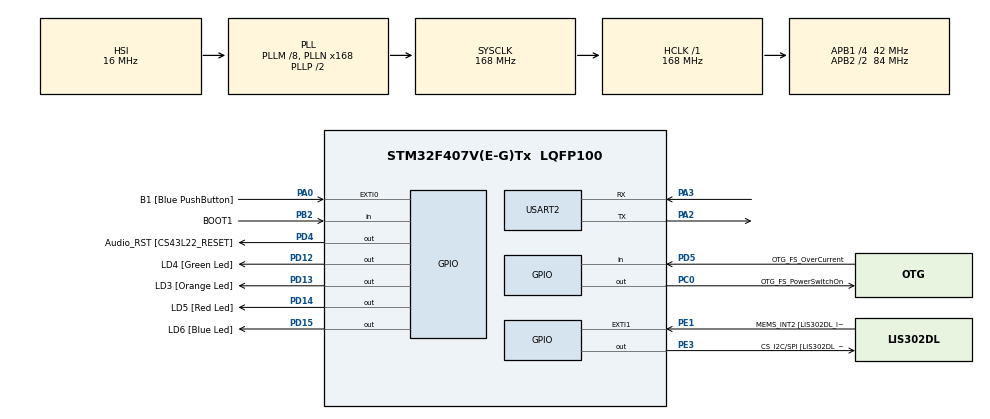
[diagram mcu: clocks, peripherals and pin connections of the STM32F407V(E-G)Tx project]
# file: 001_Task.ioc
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Mcu.Family=STM32F4
Mcu.Name=STM32F407V(E-G)Tx
Mcu.Package=LQFP100
NVIC.PriorityGroup=NVIC_PRIORITYGROUP_4
NVIC.TIM6_DAC_IRQn=true\:15\:0\:false\:false\:true\:false\:true\:true
NVIC.TimeBase=TIM6_DAC_IRQn
NVIC.TimeBaseIP=TIM6
PA0-WKUP.GPIO_Label=B1 [Blue PushButton]
PA0-WKUP.Signal=GPXTI0
PA10.GPIO_Label=OTG_FS_ID
PA10.GPIO_Mode=GPIO_MODE_AF_PP
PA10.GPIO_PuPd=GPIO_NOPULL
PA10.GPIO_Speed=GPIO_SPEED_FREQ_LOW
PA10.Signal=USB_OTG_FS_ID
PA11.GPIO_Label=OTG_FS_DM
PA11.GPIO_Mode=GPIO_MODE_AF_PP
PA11.GPIO_PuPd=GPIO_NOPULL
PA11.GPIO_Speed=GPIO_SPEED_FREQ_LOW
PA11.Signal=USB_OTG_FS_DM
PA12.GPIO_Label=OTG_FS_DP
PA12.GPIO_Mode=GPIO_MODE_AF_PP
PA12.GPIO_PuPd=GPIO_NOPULL
PA12.GPIO_Speed=GPIO_SPEED_FREQ_LOW
PA12.Signal=USB_OTG_FS_DP
PA13.GPIO_Label=SWDIO
PA13.Signal=SYS_JTMS-SWDIO
PA14.GPIO_Label=SWCLK
PA14.Signal=SYS_JTCK-SWCLK
PA2.Mode=Asynchronous
PA2.Signal=USART2_TX
PA3.Mode=Asynchronous
PA3.Signal=USART2_RX
PA4.GPIO_Label=I2S3_WS [CS43L22_LRCK]
PA4.GPIO_Mode=GPIO_MODE_AF_PP
PA4.GPIO_PuPd=GPIO_NOPULL
PA4.GPIO_Speed=GPIO_SPEED_FREQ_LOW
PA4.Signal=I2S3_WS
PA5.GPIO_Label=SPI1_SCK [LIS302DL_SCL/SPC]
PA5.GPIO_Mode=GPIO_MODE_AF_PP
PA5.GPIO_PuPd=GPIO_NOPULL
PA5.GPIO_Speed=GPIO_SPEED_FREQ_LOW
PA5.Signal=SPI1_SCK
PA6.GPIO_Label=SPI1_MISO [LIS302DL_SDO]
PA6.GPIO_Mode=GPIO_MODE_AF_PP
PA6.GPIO_PuPd=GPIO_NOPULL
PA6.GPIO_Speed=GPIO_SPEED_FREQ_LOW
PA6.Signal=SPI1_MISO
PA7.GPIO_Label=SPI1_MOSI [LIS302DL_SDA/SDI/SDO]
PA7.GPIO_Mode=GPIO_MODE_AF_PP
PA7.GPIO_PuPd=GPIO_NOPULL
PA7.GPIO_Speed=GPIO_SPEED_FREQ_LOW
PA7.Signal=SPI1_MOSI
PA9.GPIO_Label=VBUS_FS
PA9.GPIO_Mode=GPIO_MODE_INPUT
PA9.GPIO_PuPd=GPIO_NOPULL
PA9.Signal=USB_OTG_FS_VBUS
PB10.GPIO_Label=CLK_IN [MP45DT02_CLK]
PB10.GPIO_Mode=GPIO_MODE_AF_PP
PB10.GPIO_PuPd=GPIO_NOPULL
PB10.GPIO_Speed=GPIO_SPEED_FREQ_LOW
PB10.Signal=I2S2_CK
PB2.GPIO_Label=BOOT1
PB2.GPIO_Mode=GPIO_MODE_INPUT
PB2.GPIO_PuPd=GPIO_NOPULL
PB2.Signal=GPIO_Input
PB3.GPIO_Label=SWO
PB3.Signal=SYS_JTDO-SWO
PB6.GPIO_Label=Audio_SCL [CS43L22_SCL]
PB6.GPIO_Mode=GPIO_MODE_AF_OD
PB6.GPIO_PuPd=GPIO_NOPULL
PB6.GPIO_Speed=GPIO_SPEED_FREQ_LOW
PB6.Signal=I2C1_SCL
PB9.GPIO_Label=Audio_SDA [CS43L22_SDA]
PB9.GPIO_Mode=GPIO_MODE_AF_OD
PB9.GPIO_PuPd=GPIO_NOPULL
PB9.GPIO_Speed=GPIO_SPEED_FREQ_LOW
PB9.Signal=I2C1_SDA
PC0.GPIO_Label=OTG_FS_PowerSwitchOn
PC0.GPIO_PuPd=GPIO_NOPULL
PC0.GPIO_Speed=GPIO_SPEED_FREQ_LOW
PC0.PinState=GPIO_PIN_SET
PC0.Signal=GPIO_Output
PC10.GPIO_Label=I2S3_SCK [CS43L22_SCLK]
PC10.GPIO_Mode=GPIO_MODE_AF_PP
PC10.GPIO_PuPd=GPIO_NOPULL
PC10.GPIO_Speed=GPIO_SPEED_FREQ_LOW
PC10.Signal=I2S3_CK
PC12.GPIO_Label=I2S3_SD [CS43L22_SDIN]
PC12.GPIO_Mode=GPIO_MODE_AF_PP
PC12.GPIO_PuPd=GPIO_NOPULL
PC12.GPIO_Speed=GPIO_SPEED_FREQ_LOW
PC12.Signal=I2S3_SD
PC14-OSC32_IN.GPIO_Label=PC14-OSC32_IN
PC14-OSC32_IN.Signal=RCC_OSC32_IN
PC15-OSC32_OUT.GPIO_Label=PC15-OSC32_OUT
PC15-OSC32_OUT.Signal=RCC_OSC32_OUT
PC3.GPIO_Label=PDM_OUT [MP45DT02_DOUT]
PC3.GPIO_Mode=GPIO_MODE_AF_PP
PC3.GPIO_PuPd=GPIO_NOPULL
PC3.GPIO_Speed=GPIO_SPEED_FREQ_LOW
PC3.Signal=I2S2_SD
PC7.GPIO_Label=I2S3_MCK [CS43L22_MCLK]
PC7.GPIO_Mode=GPIO_MODE_AF_PP
PC7.GPIO_PuPd=GPIO_NOPULL
PC7.GPIO_Speed=GPIO_SPEED_FREQ_LOW
PC7.Signal=I2S3_MCK
PD12.GPIO_Label=LD4 [Green Led]
PD12.GPIO_PuPd=GPIO_NOPULL
PD12.GPIO_Speed=GPIO_SPEED_FREQ_LOW
PD12.Signal=GPIO_Output
PD13.GPIO_Label=LD3 [Orange Led]
PD13.GPIO_PuPd=GPIO_NOPULL
PD13.GPIO_Speed=GPIO_SPEED_FREQ_LOW
PD13.Signal=GPIO_Output
PD14.GPIO_Label=LD5 [Red Led]
PD14.GPIO_PuPd=GPIO_NOPULL
PD14.GPIO_Speed=GPIO_SPEED_FREQ_LOW
PD14.Signal=GPIO_Output
PD15.GPIO_Label=LD6 [Blue Led]
PD15.GPIO_PuPd=GPIO_NOPULL
PD15.GPIO_Speed=GPIO_SPEED_FREQ_LOW
PD15.Signal=GPIO_Output
PD4.GPIO_Label=Audio_RST [CS43L22_RESET]
PD4.GPIO_PuPd=GPIO_NOPULL
PD4.GPIO_Speed=GPIO_SPEED_FREQ_LOW
PD4.Signal=GPIO_Output
PD5.GPIO_Label=OTG_FS_OverCurrent
PD5.GPIO_Mode=GPIO_MODE_INPUT
PD5.GPIO_PuPd=GPIO_NOPULL
PD5.Signal=GPIO_Input
PE1.GPIO_Label=MEMS_INT2 [LIS302DL_INT2]
PE1.GPIO_ModeDefaultEXTI=GPIO_MODE_EVT_RISING
PE1.GPIO_PuPd=GPIO_NOPULL
PE1.Signal=GPXTI1
PE3.GPIO_Label=CS_I2C/SPI [LIS302DL_CS_I2C/SPI]
PE3.GPIO_PuPd=GPIO_NOPULL
PE3.GPIO_Speed=GPIO_SPEED_FREQ_LOW
PE3.Signal=GPIO_Output
PH0-OSC_IN.GPIO_Label=PH0-OSC_IN
PH0-OSC_IN.Signal=RCC_OSC_IN
PH1-OSC_OUT.GPIO_Label=PH1-OSC_OUT
PH1-OSC_OUT.Signal=RCC_OSC_OUT
ProjectManager.HeapSize=0x200
ProjectManager.StackSize=0x400
ProjectManager.TargetToolchain=STM32CubeIDE
RCC.48MHZClocksFreq_Value=48000000
RCC.AHBFreq_Value=168000000
RCC.APB1CLKDivider=RCC_HCLK_DIV4
RCC.APB1Freq_Value=42000000
RCC.APB1TimFreq_Value=84000000
RCC.APB2CLKDivider=RCC_HCLK_DIV2
RCC.APB2Freq_Value=84000000
RCC.APB2TimFreq_Value=168000000
RCC.CortexFreq_Value=168000000
RCC.HCLKFreq_Value=168000000
RCC.HSE_VALUE=8000000
RCC.HSI_VALUE=16000000
RCC.LSE_VALUE=32768
RCC.PLLM=8
RCC.PLLN=168
RCC.PLLQ=7
RCC.SYSCLKFreq_VALUE=168000000
RCC.SYSCLKSource=RCC_SYSCLKSOURCE_PLLCLK
RCC.VCOOutputFreq_Value=336000000
USART2.VirtualMode=VM_ASYNC
VP_SYS_VS_tim6.Mode=TIM6
board=STM32F407G-DISC1

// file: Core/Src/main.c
/* USER CODE BEGIN Header */
/**
  ******************************************************************************
  * @file           : main.c
  * @brief          : Main program body
  ******************************************************************************
  * @attention
  *
  * Copyright (c) 2024 STMicroelectronics.
  * All rights reserved.
  *
  * This software is licensed under terms that can be found in the LICENSE file
  * in the root directory of this software component.
  * If no LICENSE file comes with this software, it is provided AS-IS.
  *
  ******************************************************************************
  */
/* USER CODE END Header */
#include "main.h"

/* USER CODE BEGIN Includes */
#include "FreeRTOS.h"
#include "task.h"
#include <stdio.h>
/* USER CODE END Includes */

UART_HandleTypeDef huart2;

/* USER CODE BEGIN PV */

#define DWT_CTRL (*(volatile uint32_t*)0xE0001000)
/* USER CODE END PV */

void SystemClock_Config(void);
static void MX_GPIO_Init(void);
static void MX_USART2_UART_Init(void);
/* USER CODE BEGIN PFP */
static void task1_handler(void* parameters);
static void task2_handler(void* parameters);
/* USER CODE END PFP */

/* USER CODE BEGIN 0 */
extern void SEGGER_UART_init(uint32_t);
/* USER CODE END 0 */

int main(void)
{
  /* USER CODE BEGIN 1 */
	TaskHandle_t task1_handle;
	TaskHandle_t task2_handle;
	BaseType_t status;
  /* USER CODE END 1 */

  /* MCU Configuration--------------------------------------------------------*/

  /* Reset of all peripherals, Initializes the Flash interface and the Systick. */
  HAL_Init();

  /* Configure the system clock */
  SystemClock_Config();

  /* Initialize all configured peripherals */
  MX_GPIO_Init();
  MX_USART2_UART_Init();
  /* USER CODE BEGIN 2 */

  //Enabling cyclic counting
  DWT_CTRL |=(1<<0);

  SEGGER_UART_init(500000);

  SEGGER_SYSVIEW_Conf();

//  SEGGER_SYSVIEW_Start(); it starts in segger_uart.c

  status = xTaskCreate(task1_handler,
              "Task-1",
              200,
              "Hello world from Task-1",
              2,
              &task1_handle
                            );

  configASSERT(status == pdPASS);
  status = xTaskCreate(task2_handler,
              "Task-2",
              200,
              "Hello world from Task-2",
              2,
              &task2_handle
                            );

  configASSERT(status == pdPASS);

  //start the FreeRTOS scheduler

  vTaskStartScheduler();

  /* USER CODE END 2 */

  /* Infinite loop */
  while (1)
  {

  }
}

void SystemClock_Config(void)
{
  RCC_OscInitTypeDef RCC_OscInitStruct = {0};
  RCC_ClkInitTypeDef RCC_ClkInitStruct = {0};

  /** Configure the main internal regulator output voltage
  */
  __HAL_RCC_PWR_CLK_ENABLE();
  __HAL_PWR_VOLTAGESCALING_CONFIG(PWR_REGULATOR_VOLTAGE_SCALE1);

  /** Initializes the RCC Oscillators according to the specified parameters
  * in the RCC_OscInitTypeDef structure.
  */
  RCC_OscInitStruct.OscillatorType = RCC_OSCILLATORTYPE_HSI;
  RCC_OscInitStruct.HSIState = RCC_HSI_ON;
  RCC_OscInitStruct.HSICalibrationValue = RCC_HSICALIBRATION_DEFAULT;
  RCC_OscInitStruct.PLL.PLLState = RCC_PLL_ON;
  RCC_OscInitStruct.PLL.PLLSource = RCC_PLLSOURCE_HSI;
  RCC_OscInitStruct.PLL.PLLM = 8;
  RCC_OscInitStruct.PLL.PLLN = 168;
  RCC_OscInitStruct.PLL.PLLP = RCC_PLLP_DIV2;
  RCC_OscInitStruct.PLL.PLLQ = 7;
  if (HAL_RCC_OscConfig(&RCC_OscInitStruct) != HAL_OK)
  {
    Error_Handler();
  }

  /** Initializes the CPU, AHB and APB buses clocks
  */
  RCC_ClkInitStruct.ClockType = RCC_CLOCKTYPE_HCLK|RCC_CLOCKTYPE_SYSCLK
                              |RCC_CLOCKTYPE_PCLK1|RCC_CLOCKTYPE_PCLK2;
  RCC_ClkInitStruct.SYSCLKSource = RCC_SYSCLKSOURCE_PLLCLK;
  RCC_ClkInitStruct.AHBCLKDivider = RCC_SYSCLK_DIV1;
  RCC_ClkInitStruct.APB1CLKDivider = RCC_HCLK_DIV4;
  RCC_ClkInitStruct.APB2CLKDivider = RCC_HCLK_DIV2;

  if (HAL_RCC_ClockConfig(&RCC_ClkInitStruct, FLASH_LATENCY_5) != HAL_OK)
  {
    Error_Handler();
  }
}

static void MX_USART2_UART_Init(void)
{

  huart2.Instance = USART2;
  huart2.Init.BaudRate = 115200;
  huart2.Init.WordLength = UART_WORDLENGTH_8B;
  huart2.Init.StopBits = UART_STOPBITS_1;
  huart2.Init.Parity = UART_PARITY_NONE;
  huart2.Init.Mode = UART_MODE_TX_RX;
  huart2.Init.HwFlowCtl = UART_HWCONTROL_NONE;
  huart2.Init.OverSampling = UART_OVERSAMPLING_16;
  if (HAL_UART_Init(&huart2) != HAL_OK)
  {
    Error_Handler();
  }

}

static void MX_GPIO_Init(void)
{
  GPIO_InitTypeDef GPIO_InitStruct = {0};

  /* GPIO Ports Clock Enable */
  __HAL_RCC_GPIOE_CLK_ENABLE();
  __HAL_RCC_GPIOC_CLK_ENABLE();
  __HAL_RCC_GPIOH_CLK_ENABLE();
  __HAL_RCC_GPIOA_CLK_ENABLE();
  __HAL_RCC_GPIOB_CLK_ENABLE();
  __HAL_RCC_GPIOD_CLK_ENABLE();

  /*Configure GPIO pin Output Level */
  HAL_GPIO_WritePin(CS_I2C_SPI_GPIO_Port, CS_I2C_SPI_Pin, GPIO_PIN_RESET);

  /*Configure GPIO pin Output Level */
  HAL_GPIO_WritePin(OTG_FS_PowerSwitchOn_GPIO_Port, OTG_FS_PowerSwitchOn_Pin, GPIO_PIN_SET);

  /*Configure GPIO pin Output Level */
  HAL_GPIO_WritePin(GPIOD, LD4_Pin|LD3_Pin|LD5_Pin|LD6_Pin
                          |Audio_RST_Pin, GPIO_PIN_RESET);

  /*Configure GPIO pin : CS_I2C_SPI_Pin */
  GPIO_InitStruct.Pin = CS_I2C_SPI_Pin;
  GPIO_InitStruct.Mode = GPIO_MODE_OUTPUT_PP;
  GPIO_InitStruct.Pull = GPIO_NOPULL;
  GPIO_InitStruct.Speed = GPIO_SPEED_FREQ_LOW;
  HAL_GPIO_Init(CS_I2C_SPI_GPIO_Port, &GPIO_InitStruct);

  /*Configure GPIO pin : OTG_FS_PowerSwitchOn_Pin */
  GPIO_InitStruct.Pin = OTG_FS_PowerSwitchOn_Pin;
  GPIO_InitStruct.Mode = GPIO_MODE_OUTPUT_PP;
  GPIO_InitStruct.Pull = GPIO_NOPULL;
  GPIO_InitStruct.Speed = GPIO_SPEED_FREQ_LOW;
  HAL_GPIO_Init(OTG_FS_PowerSwitchOn_GPIO_Port, &GPIO_InitStruct);

  /*Configure GPIO pin : PDM_OUT_Pin */
  GPIO_InitStruct.Pin = PDM_OUT_Pin;
  GPIO_InitStruct.Mode = GPIO_MODE_AF_PP;
  GPIO_InitStruct.Pull = GPIO_NOPULL;
  GPIO_InitStruct.Speed = GPIO_SPEED_FREQ_LOW;
  GPIO_InitStruct.Alternate = GPIO_AF5_SPI2;
  HAL_GPIO_Init(PDM_OUT_GPIO_Port, &GPIO_InitStruct);

  /*Configure GPIO pin : B1_Pin */
  GPIO_InitStruct.Pin = B1_Pin;
  GPIO_InitStruct.Mode = GPIO_MODE_IT_RISING;
  GPIO_InitStruct.Pull = GPIO_NOPULL;
  HAL_GPIO_Init(B1_GPIO_Port, &GPIO_InitStruct);

  /*Configure GPIO pin : I2S3_WS_Pin */
  GPIO_InitStruct.Pin = I2S3_WS_Pin;
  GPIO_InitStruct.Mode = GPIO_MODE_AF_PP;
  GPIO_InitStruct.Pull = GPIO_NOPULL;
  GPIO_InitStruct.Speed = GPIO_SPEED_FREQ_LOW;
  GPIO_InitStruct.Alternate = GPIO_AF6_SPI3;
  HAL_GPIO_Init(I2S3_WS_GPIO_Port, &GPIO_InitStruct);

  /*Configure GPIO pins : SPI1_SCK_Pin SPI1_MISO_Pin SPI1_MOSI_Pin */
  GPIO_InitStruct.Pin = SPI1_SCK_Pin|SPI1_MISO_Pin|SPI1_MOSI_Pin;
  GPIO_InitStruct.Mode = GPIO_MODE_AF_PP;
  GPIO_InitStruct.Pull = GPIO_NOPULL;
  GPIO_InitStruct.Speed = GPIO_SPEED_FREQ_LOW;
  GPIO_InitStruct.Alternate = GPIO_AF5_SPI1;
  HAL_GPIO_Init(GPIOA, &GPIO_InitStruct);

  /*Configure GPIO pin : BOOT1_Pin */
  GPIO_InitStruct.Pin = BOOT1_Pin;
  GPIO_InitStruct.Mode = GPIO_MODE_INPUT;
  GPIO_InitStruct.Pull = GPIO_NOPULL;
  HAL_GPIO_Init(BOOT1_GPIO_Port, &GPIO_InitStruct);

  /*Configure GPIO pin : CLK_IN_Pin */
  GPIO_InitStruct.Pin = CLK_IN_Pin;
  GPIO_InitStruct.Mode = GPIO_MODE_AF_PP;
  GPIO_InitStruct.Pull = GPIO_NOPULL;
  GPIO_InitStruct.Speed = GPIO_SPEED_FREQ_LOW;
  GPIO_InitStruct.Alternate = GPIO_AF5_SPI2;
  HAL_GPIO_Init(CLK_IN_GPIO_Port, &GPIO_InitStruct);

  /*Configure GPIO pins : LD4_Pin LD3_Pin LD5_Pin LD6_Pin
                           Audio_RST_Pin */
  GPIO_InitStruct.Pin = LD4_Pin|LD3_Pin|LD5_Pin|LD6_Pin
                          |Audio_RST_Pin;
  GPIO_InitStruct.Mode = GPIO_MODE_OUTPUT_PP;
  GPIO_InitStruct.Pull = GPIO_NOPULL;
  GPIO_InitStruct.Speed = GPIO_SPEED_FREQ_LOW;
  HAL_GPIO_Init(GPIOD, &GPIO_InitStruct);

  /*Configure GPIO pins : I2S3_MCK_Pin I2S3_SCK_Pin I2S3_SD_Pin */
  GPIO_InitStruct.Pin = I2S3_MCK_Pin|I2S3_SCK_Pin|I2S3_SD_Pin;
  GPIO_InitStruct.Mode = GPIO_MODE_AF_PP;
  GPIO_InitStruct.Pull = GPIO_NOPULL;
  GPIO_InitStruct.Speed = GPIO_SPEED_FREQ_LOW;
  GPIO_InitStruct.Alternate = GPIO_AF6_SPI3;
  HAL_GPIO_Init(GPIOC, &GPIO_InitStruct);

  /*Configure GPIO pin : VBUS_FS_Pin */
  GPIO_InitStruct.Pin = VBUS_FS_Pin;
  GPIO_InitStruct.Mode = GPIO_MODE_INPUT;
  GPIO_InitStruct.Pull = GPIO_NOPULL;
  HAL_GPIO_Init(VBUS_FS_GPIO_Port, &GPIO_InitStruct);

  /*Configure GPIO pins : OTG_FS_ID_Pin OTG_FS_DM_Pin OTG_FS_DP_Pin */
  GPIO_InitStruct.Pin = OTG_FS_ID_Pin|OTG_FS_DM_Pin|OTG_FS_DP_Pin;
  GPIO_InitStruct.Mode = GPIO_MODE_AF_PP;
  GPIO_InitStruct.Pull = GPIO_NOPULL;
  GPIO_InitStruct.Speed = GPIO_SPEED_FREQ_LOW;
  GPIO_InitStruct.Alternate = GPIO_AF10_OTG_FS;
  HAL_GPIO_Init(GPIOA, &GPIO_InitStruct);

  /*Configure GPIO pin : OTG_FS_OverCurrent_Pin */
  GPIO_InitStruct.Pin = OTG_FS_OverCurrent_Pin;
  GPIO_InitStruct.Mode = GPIO_MODE_INPUT;
  GPIO_InitStruct.Pull = GPIO_NOPULL;
  HAL_GPIO_Init(OTG_FS_OverCurrent_GPIO_Port, &GPIO_InitStruct);

  /*Configure GPIO pins : Audio_SCL_Pin Audio_SDA_Pin */
  GPIO_InitStruct.Pin = Audio_SCL_Pin|Audio_SDA_Pin;
  GPIO_InitStruct.Mode = GPIO_MODE_AF_OD;
  GPIO_InitStruct.Pull = GPIO_NOPULL;
  GPIO_InitStruct.Speed = GPIO_SPEED_FREQ_LOW;
  GPIO_InitStruct.Alternate = GPIO_AF4_I2C1;
  HAL_GPIO_Init(GPIOB, &GPIO_InitStruct);

  /*Configure GPIO pin : MEMS_INT2_Pin */
  GPIO_InitStruct.Pin = MEMS_INT2_Pin;
  GPIO_InitStruct.Mode = GPIO_MODE_EVT_RISING;
  GPIO_InitStruct.Pull = GPIO_NOPULL;
  HAL_GPIO_Init(MEMS_INT2_GPIO_Port, &GPIO_InitStruct);

}

/* USER CODE BEGIN 4 */

	static void task1_handler(void* parameters)
	{

		char msg[100];

		while(1)
		{

			printf("Task!");
			snprintf(msg,100,"%s\n",(char*)parameters);
			SEGGER_SYSVIEW_PrintfTarget(msg);
			taskYIELD();
		}

	}

	static void task2_handler(void* parameters)
	{
		char msg[100];
		while(1)
		{
			printf("Task6");
			snprintf(msg,100,"%s\n",(char*)parameters);
			SEGGER_SYSVIEW_PrintfTarget(msg);
			taskYIELD();
		}

	}

/* USER CODE END 4 */

void HAL_TIM_PeriodElapsedCallback(TIM_HandleTypeDef *htim)
{
  if (htim->Instance == TIM6) {
    HAL_IncTick();
  }
}

void Error_Handler(void)
{
  __disable_irq();
  while (1)
  {
  }
}
